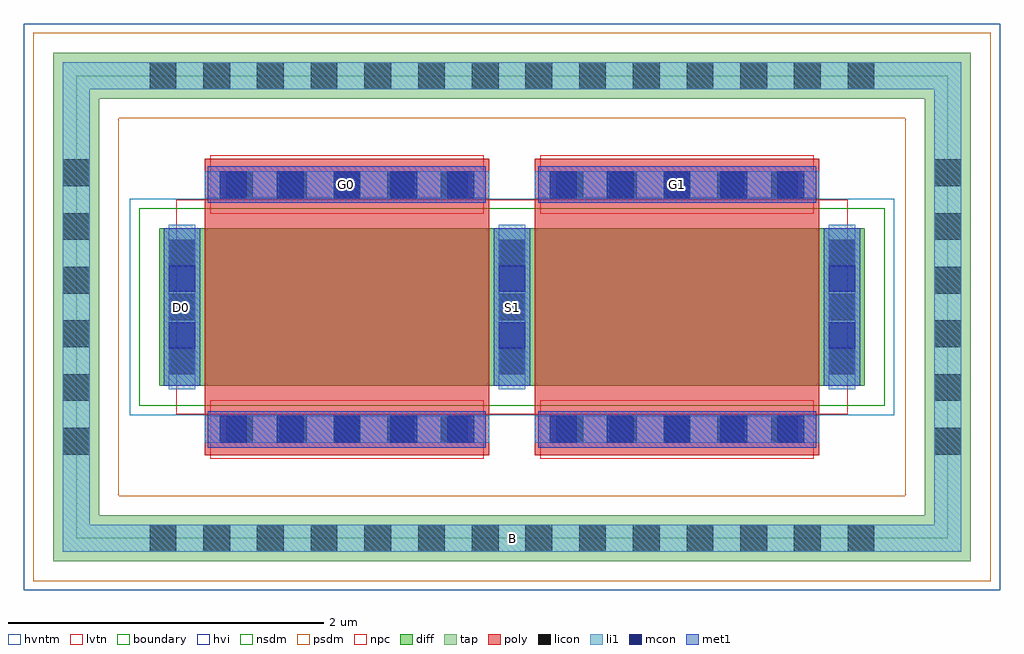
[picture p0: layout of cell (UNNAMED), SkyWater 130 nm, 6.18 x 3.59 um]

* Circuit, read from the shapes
.subckt (UNNAMED) B D0 G0 G1 S1
XM1 S1 G0 D0 B sky130_fd_pr__nfet_05v0_nvt w=1 l=1.8
XM2 n1 G1 S1 B sky130_fd_pr__nfet_05v0_nvt w=1 l=1.8
.ends

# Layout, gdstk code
import gdstk
lib = gdstk.Library(unit=1e-6, precision=1e-09)
def R(c, l, rs):  # rectangles x0, y0, x1, y1
    for r in rs: c.add(gdstk.rectangle(r[:2], r[2:], *l))
def A(c, l, x, y, w, h, nx, ny, dx, dy):  # array of equal rectangles
    R(c, l, [(x+i*dx, y+j*dy, x+i*dx+w, y+j*dy+h) for i in range(nx) for j in range(ny)])
diff = (65, 20)
tap = (65, 44)
poly = (66, 20)
licon = (66, 44)
li1 = (67, 20)
mcon = (67, 44)
met1 = (68, 20)
hvi = (75, 20)
nsdm = (93, 44)
psdm = (94, 20)
npc = (95, 20)
hvntm = (125, 20)
lvtn = (125, 44)
boundary = (235, 4)

c__unnamed_ = lib.new_cell('(UNNAMED)')
R(c__unnamed_, diff, [(-2.235,-0.5,2.235,0.5)])
R(c__unnamed_, tap, [(-2.905,-1.61,2.905,-1.32), (-2.905,-1.32,-2.615,1.32), (2.615,-1.32,2.905,1.32), (-2.905,1.32,2.905,1.61)])
R(c__unnamed_, poly, [(-1.945,-0.94,-0.145,0.94), (0.145,-0.94,1.945,0.94)])
A(c__unnamed_, licon, -2.295, -1.55, 0.17, 0.17, 14, 2, 0.34, 2.93)
A(c__unnamed_, licon, -2.845, -0.935, 0.17, 0.17, 1, 6, 0, 0.34)
A(c__unnamed_, licon, 2.675, -0.935, 0.17, 0.17, 1, 6, 0, 0.34)
A(c__unnamed_, licon, -1.81, -0.86, 0.17, 0.17, 5, 2, 0.34, 1.55)
A(c__unnamed_, licon, 0.28, -0.86, 0.17, 0.17, 5, 2, 0.34, 1.55)
A(c__unnamed_, licon, -2.175, -0.425, 0.17, 0.17, 3, 3, 2.09, 0.34)
A(c__unnamed_, li1, -2.175, -0.52, 0.17, 1.04, 3, 1, 2.09, 0)
R(c__unnamed_, li1, [(-2.845,-1.55,2.845,-1.38), (-2.845,-1.38,-2.675,1.38), (2.675,-1.38,2.845,1.38), (-1.945,-0.86,-0.145,-0.69), (0.145,-0.86,1.945,-0.69), (-1.945,0.69,-0.145,0.86), (0.145,0.69,1.945,0.86), (-2.845,1.38,2.845,1.55)])
A(c__unnamed_, mcon, -1.85, -0.86, 0.17, 0.17, 5, 2, 0.36, 1.55)
A(c__unnamed_, mcon, 0.24, -0.86, 0.17, 0.17, 5, 2, 0.36, 1.55)
A(c__unnamed_, mcon, -2.175, -0.265, 0.17, 0.17, 3, 2, 2.09, 0.36)
A(c__unnamed_, met1, -2.205, -0.5, 0.23, 1, 3, 1, 2.09, 0)
R(c__unnamed_, met1, [(-1.925,-0.89,-0.165,-0.66), (0.165,-0.89,1.925,-0.66), (-1.925,0.66,-0.165,0.89), (0.165,0.66,1.925,0.89)])
R(c__unnamed_, hvi, [(-3.09,-1.795,3.09,1.795)])
R(c__unnamed_, nsdm, [(-2.36,-0.625,2.36,0.625)])
R(c__unnamed_, psdm, [(-3.03,-1.735,3.03,-1.195), (-3.03,-1.195,-2.49,1.195), (2.49,-1.195,3.03,1.195), (-3.03,1.195,3.03,1.735)])
R(c__unnamed_, npc, [(-1.91,-0.96,-0.18,-0.59), (0.18,-0.96,1.91,-0.59), (-1.91,0.59,-0.18,0.96), (0.18,0.59,1.91,0.96)])
R(c__unnamed_, hvntm, [(-2.42,-0.685,2.42,0.685)])
R(c__unnamed_, lvtn, [(-2.125,-0.68,2.125,0.68)])
R(c__unnamed_, boundary, [(-2.76,-1.465,2.76,1.465)])
c__unnamed_.add(gdstk.Label('B', (0,-1.465), layer=67, texttype=5))
c__unnamed_.add(gdstk.Label('D0', (-2.09,0), layer=67, texttype=5))
c__unnamed_.add(gdstk.Label('G0', (-1.045,0.775), layer=67, texttype=5))
c__unnamed_.add(gdstk.Label('S1', (0,0), layer=67, texttype=5))
c__unnamed_.add(gdstk.Label('G1', (1.045,0.775), layer=67, texttype=5))

lib.write_gds('_UNNAMED_.gds')
